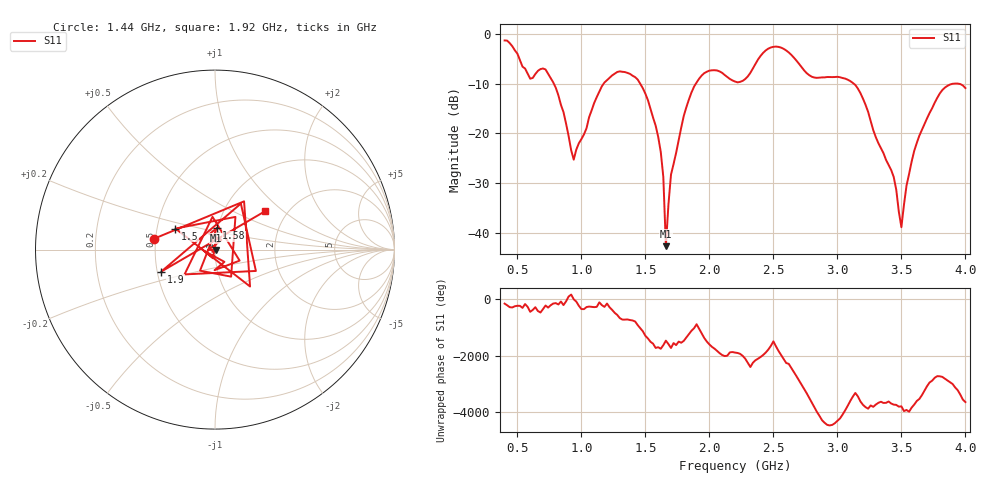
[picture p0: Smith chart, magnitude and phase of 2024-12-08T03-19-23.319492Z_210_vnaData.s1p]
!Created with skrf (http://scikit-rf.org).
# Hz S RI R 50.0
!freq ReS11 ImS11
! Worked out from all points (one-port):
!   181 points, 400 MHz to 4 GHz, reference 50 ohm
!   lowest |S11| = -42.6 dB at 1.66 GHz (marker M1), VSWR 1.01, Z = 50.7 - j0.242 ohm
!   |S11| at or under -10 dB: 784 MHz to 1.175 GHz (390.8 MHz wide, 39.9 % of centre); 1.459 GHz to 1.895 GHz (436.7 MHz wide, 26 % of centre); 3.126 GHz to end of sweep
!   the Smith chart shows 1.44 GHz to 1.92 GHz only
!   S11 on the Smith chart (normalised r, x): 1.44 GHz: 0.49, +0.07; 1.5 GHz: 0.62, +0.16; 1.58 GHz: 0.99, +0.24; 1.9 GHz: 0.53, -0.14; 1.92 GHz: 1.55, +0.76
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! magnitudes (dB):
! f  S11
! 400 MHz  -1.4
! 600 MHz  -9.0
! 720 MHz  -7.2
! 860 MHz  -15.7
! 940 MHz  -25.2
! 1.16 GHz  -10.5
! 1.3 GHz  -7.6
! 1.44 GHz  -9.2
! 1.5 GHz  -12.1
! 1.58 GHz  -18.4
! 1.64 GHz  -28.7
! 1.66 GHz  -42.6
! 1.7 GHz  -28.2
! 1.76 GHz  -21.3
! 1.9 GHz  -9.8
! 1.92 GHz  -9.0
! 2.2 GHz  -9.6
! 2.48 GHz  -2.8
! 2.66 GHz  -4.8
! 2.8 GHz  -8.6
! 3.1 GHz  -9.5
! 3.2 GHz  -13.0
! 3.44 GHz  -28.7
! 3.5 GHz  -38.8
! 3.56 GHz  -28.1
! 3.64 GHz  -20.5
! 3.8 GHz  -12.0
! 4 GHz  -10.9
